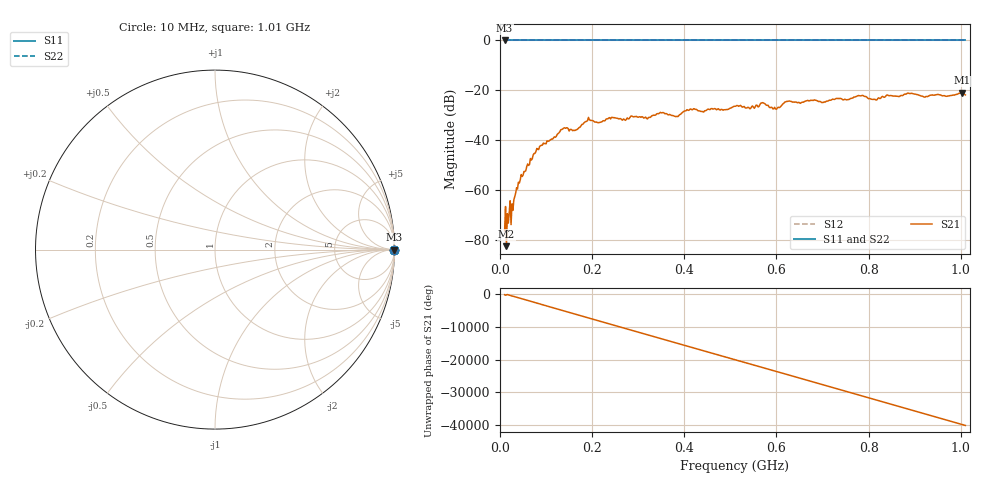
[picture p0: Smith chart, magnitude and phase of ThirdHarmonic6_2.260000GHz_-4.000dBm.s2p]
! 8/17/2025 2:46:50 AM
! C:\ANRITSUVNA\TEMP\TEMP.S2P
! CHANNEL.1
! TR.MEASUREMENT
! RAW.DATA
! RF.CORRECTION.OFF
! AVERAGING.OFF
! IF.BANDWIDTH: 5KHZ
! SWEEPTYPE:  FREQ.SWEEP(Linear)
! Reference Plane Port Info
! PORT:  PORT1  PORT2
! DISTANCE:  0  m  0  m
! TIME:  0  s  0  s
! PHASE.OFFSET:  0  deg.  0  deg.
! LOSS:  0  dB  0  dB
! REF.LOSS:  0  dB  0  dB
! REF.FREQ:  0  Hz  0  Hz
! Power Info
! POWER:  -20  dBm  -20  dBm
! EFF.POWER:  -20  dBm  -20  dBm
! SOURCE.ATTEN:  0  dB  0  dB
! TEST.ATTEN:  0  dB  0  dB
# GHZ S RI R 50.0
! FREQ.GHZ  S11RE  S11IM  S21RE  S21IM  S12RE  S12IM  S22RE  S22IM
!; PortSelection: Port_12
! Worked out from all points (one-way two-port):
!   501 points, 10 MHz to 1.01 GHz, reference 50 ohm
!   highest |S21| = -21.02 dB at 1.002 GHz (marker M1); lowest = -82.6 dB at 14 MHz (marker M2)
!   lowest |S11| = 0.0 dB at 10 MHz (marker M3)
!   |S11| at or under -10 dB: nowhere
!   |S22| runs from 0.0 to 0.0 dB; largest |S21 - S12| = 1.1
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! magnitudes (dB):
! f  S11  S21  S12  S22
! 10 MHz  0.0  -76.5  0.0  0.0
! 14 MHz  0.0  -82.6  0.0  0.0
! 28 MHz  0.0  -68.2  0.0  0.0
! 36 MHz  0.0  -59.1  0.0  0.0
! 44 MHz  0.0  -55.9  0.0  0.0
! 76 MHz  0.0  -45.3  0.0  0.0
! 136 MHz  0.0  -35.5  0.0  0.0
! 162 MHz  0.0  -36.2  0.0  0.0
! 178 MHz  0.0  -33.7  0.0  0.0
! 194 MHz  0.0  -31.8  0.0  0.0
! 322 MHz  0.0  -30.9  0.0  0.0
! 344 MHz  0.0  -29.5  0.0  0.0
! 384 MHz  0.0  -30.4  0.0  0.0
! 410 MHz  0.0  -28.0  0.0  0.0
! 510 MHz  0.0  -26.4  0.0  0.0
! 570 MHz  0.0  -25.0  0.0  0.0
! 596 MHz  0.0  -26.8  0.0  0.0
! 624 MHz  0.0  -24.5  0.0  0.0
! 678 MHz  0.0  -24.0  0.0  0.0
! 844 MHz  0.0  -22.2  0.0  0.0
! 1.002 GHz  0.0  -21.0  0.0  0.0
! 1.01 GHz  0.0  -21.9  0.0  0.0
